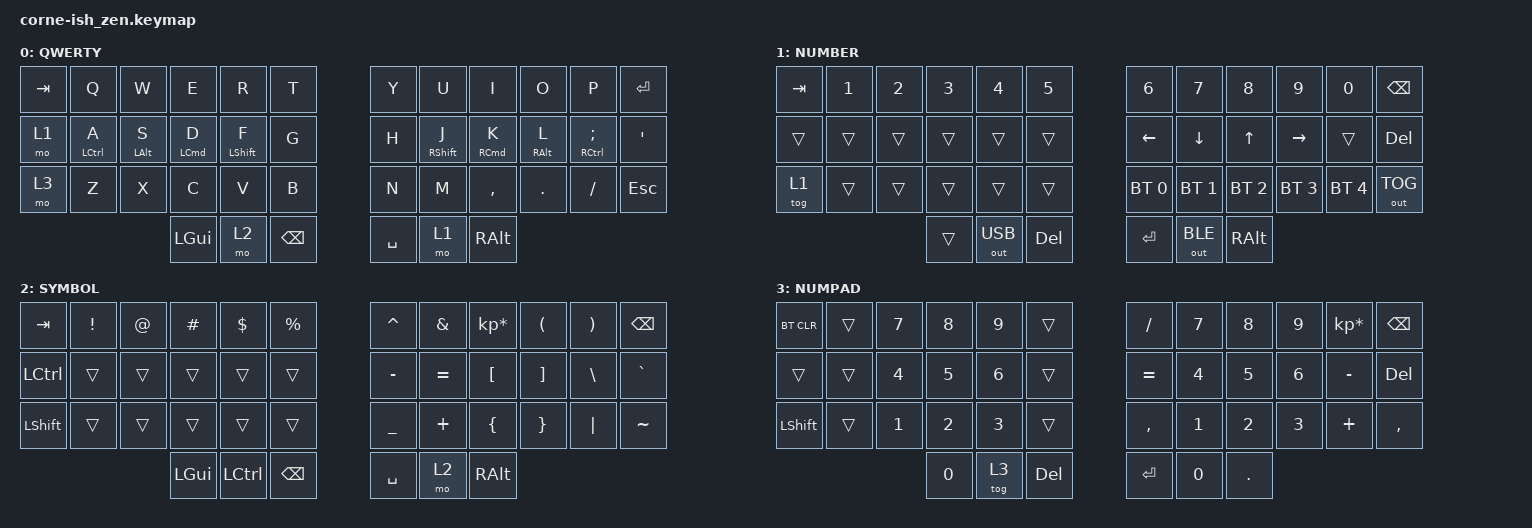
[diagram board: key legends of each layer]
/*
*
* Copyright (c) 2021 Darryl deHaan
* SPDX-License-Identifier: MIT
*
*/

#include <behaviors.dtsi>
#include <dt-bindings/zmk/keys.h>
#include <dt-bindings/zmk/bt.h>
#include <dt-bindings/zmk/modifiers.h>
#include <dt-bindings/zmk/outputs.h>

/ {
    behaviors {
        hm: homerow_mods {
            compatible = "zmk,behavior-hold-tap";
            label = "HOMEROW_MODS";
            #binding-cells = <2>;
            tapping_term_ms = <175>;
            flavor = "tap-preferred";
            bindings = <&kp>, <&kp>;
        };
    };

        keymap {
                compatible = "zmk,keymap";

                default_layer {
                        label = "QWERTY";
// -----------------------------------------------------------------------------------------
// |  TAB |  Q  |  W  |  E  |  R  |  T  |   |  Y  |  U   |  I  |  O  |  P  | BKSP |
// | CTRL |  A  |  S  |  D  |  F  |  G  |   |  H  |  J   |  K  |  L  |  ;  |  '   |
// | SHFT |  Z  |  X  |  C  |  V  |  B  |   |  N  |  M   |  ,  |  .  |  /  | ESC  |
//                    | GUI | LWR | SPC |   | ENT | RSE  | ALT |
                        bindings = <
   &kp TAB  &kp Q       &kp W      &kp E      &kp R       &kp T                  &kp Y    &kp U        &kp I       &kp O      &kp P          &kp RET
   &mo 1    &hm LCTRL A &hm LALT S &hm LCMD D &hm LSHFT F &kp G                  &kp H    &hm RSHFT J  &hm RCMD K  &hm RALT L &hm RCTRL SEMI &kp SQT
   &mo 3    &kp Z       &kp X      &kp C      &kp V       &kp B                  &kp N    &kp M        &kp COMMA   &kp DOT    &kp FSLH       &kp ESC
                                         &kp LGUI    &mo 2    &kp BSPC      &kp SPACE   &mo 1    &kp RALT
                        >;
                };
                lower_layer {
                        label = "NUMBER";
// -----------------------------------------------------------------------------------------
// |  TAB |  1  |  2  |  3  |  4  |  5  |   |  6  |  7  |  8  |  9  |  0  | BKSP |
// | BTCLR| BT1 | BT2 | BT3 | BT4 | BT5 |   | LFT | DWN |  UP | RGT |     |      |
// | SHFT |     |     |     |     |     |   |     |     |     |     |     |      |
//                    | GUI |     | SPC |   | ENT |     | ALT |
                        bindings = <
   &kp TAB    &kp N1       &kp N2       &kp N3       &kp N4       &kp N5        &kp N6       &kp N7       &kp N8       &kp N9       &kp N0       &kp BSPC
   &trans     &trans       &trans       &trans       &trans       &trans        &kp LEFT     &kp DOWN     &kp UP       &kp RIGHT    &trans       &kp DEL
   &tog 1      &trans      &trans       &trans       &trans       &trans        &bt BT_SEL 0 &bt BT_SEL 1 &bt BT_SEL 2 &bt BT_SEL 3 &bt BT_SEL 4 &out OUT_TOG
                          	              &trans    &out OUT_USB    &kp DEL   &kp RET   &out OUT_BLE   &kp RALT
                        >;
                };

                raise_layer {
                        label = "SYMBOL";
// -----------------------------------------------------------------------------------------
// |  TAB |  !  |  @  |  #  |  $  |  %  |   |  ^  |  &  |  *  |  (  |  )  | BKSP |
// | CTRL |     |     |     |     |     |   |  -  |  =  |  [  |  ]  |  \  |  `   |
// | SHFT |     |     |     |     |     |   |  _  |  +  |  {  |  }  | "|" |  ~   |
//                    | GUI |     | SPC |   | ENT |     | ALT |
                        bindings = <
   &kp  TAB  &kp EXCL &kp AT &kp HASH &kp DLLR &kp PRCNT         &kp CARET &kp AMPS  &kp KP_MULTIPLY &kp LPAR &kp RPAR &kp BSPC
   &kp LCTRL &trans   &trans &trans   &trans   &trans            &kp MINUS &kp EQUAL &kp LBKT        &kp RBKT &kp BSLH &kp GRAVE
   &kp LSHFT &trans   &trans &trans   &trans   &trans            &kp UNDER &kp PLUS  &kp LBRC        &kp RBRC &kp PIPE &kp TILDE
                    	       &kp LGUI &kp LCTRL   &kp BSPC      &kp SPACE   &mo 2    &kp RALT
                       >;
                };
               adjust_layer {
                             label = "NUMPAD";
// -----------------------------------------------------------------------------------------
// |  TAB |  1  |  2  |  3  |  4  |  5  |   |  6  |  7  |  8  |  9  |  0  | BKSP |
// | BTCLR| BT1 | BT2 | BT3 | BT4 | BT5 |   | LFT | DWN |  UP | RGT |     |      |
// | SHFT |     |     |     |     |     |   |     |     |     |     |     |      |
//                    | GUI |     | SPC |   | ENT |     | ALT |
                             bindings = <
&bt BT_CLR &trans       &kp N7       &kp N8       &kp N9       &trans             &kp FSLH    &kp N7       &kp N8      &kp N9    &kp KP_MULTIPLY   &kp BSPC
&trans     &trans       &kp N4       &kp N5       &kp N6       &trans             &kp EQUAL   &kp N4       &kp N5      &kp N6    &kp MINUS         &kp DEL
&kp LSHFT  &trans       &kp N1       &kp N2       &kp N3       &trans             &kp COMMA   &kp N1       &kp N2      &kp N3    &kp PLUS          &kp COMMA
                                        &kp N0     &tog 3      &kp DEL            &kp RET    &kp N0    &kp DOT
                        >;
                };
        };
};
